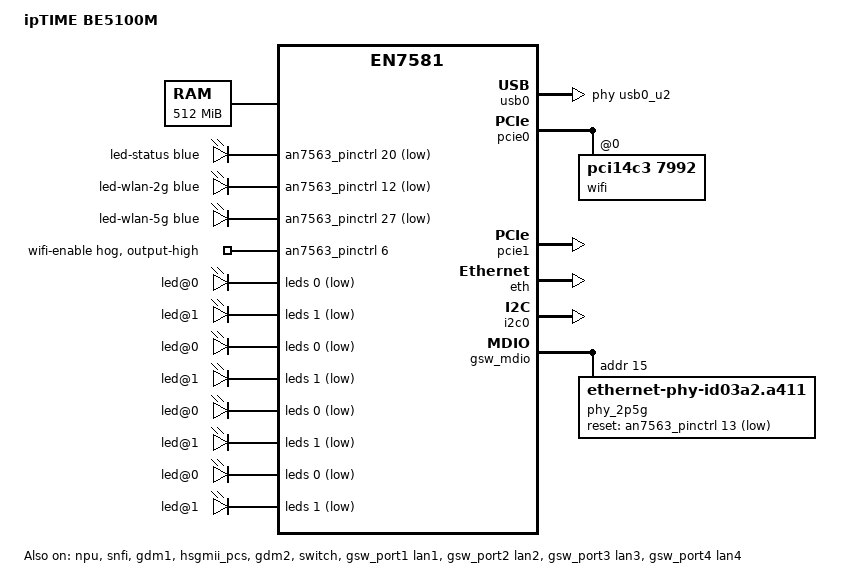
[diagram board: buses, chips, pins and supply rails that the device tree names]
// SPDX-License-Identifier: (GPL-2.0-only OR BSD-2-Clause)
/dts-v1/;

/* Bootloader installs ATF here (BL31 resident region, ~256 KiB). */
/memreserve/ 0x80000000 0x88000;

#include <dt-bindings/gpio/gpio.h>
#include <dt-bindings/phy/phy.h>
#include <dt-bindings/phy/airoha,an7581-usb-phy.h>
#include "an7563.dtsi"

/ {
	model = "ipTIME BE5100M";
	compatible = "iptime,be5100m", "airoha,an7563", "airoha,en7581";

	aliases {
		serial0 = &uart1;
	};

	chosen {
		bootargs = "console=ttyS0,115200 earlycon";
		stdout-path = "serial0:115200n8";
	};

	memory@80000000 {
		device_type = "memory";
		reg = <0x80000000 0x20000000>;
	};

	reserved-memory {
		#address-cells = <1>;
		#size-cells = <1>;
		ranges;

		npu_firmware: npu-firmware@84000000 {
			reg = <0x84000000 0x300000>;
			no-map;
		};

		npu_pkt: npu-pkt@84400000 {
			reg = <0x84400000 0x1600000>;
			no-map;
		};
	};
};

&an7563_pinctrl {
	gpio-ranges = <&an7563_pinctrl 0 0 28>;

	wifi-enable-hog {
		/* Stock U-Boot drives GPIO 6 high (MTK_GPIO_HIGH=6,27). */
		gpio-hog;
		gpios = <6 GPIO_ACTIVE_HIGH>;
		output-high;
		line-name = "wifi-enable";
	};
};

&npu {
	memory-region = <&npu_firmware>, <&npu_pkt>;
	memory-region-names = "firmware", "pkt";
	status = "okay";
};

&pcie0 {
	ranges = <0x82000000 0 0x20000000 0x20000000 0 0x4000000>;
	status = "okay";

	pcie@0,0 {
		device_type = "pci";
		reg = <0x0000 0 0 0 0>;
		#address-cells = <3>;
		#size-cells = <2>;
		ranges;

		wifi@0,0 {
			compatible = "pci14c3,7992";
			airoha,npu = <&npu>;
			airoha,eth = <&eth>;
			reg = <0x0000 0 0 0 0>;
			nvmem-cells = <&wifi_eeprom>;
			nvmem-cell-names = "eeprom";
		};
	};
};

&pcie1 {
	ranges = <0x82000000 0 0x24000000 0x24000000 0 0x4000000>;
	status = "okay";
};

&snfi {
	status = "okay";
};

&eth {
	status = "okay";
};

&gdm1 {
	nvmem-cells = <&macaddr_lan 3>;
	nvmem-cell-names = "mac-address";
	status = "okay";
};

&i2c0 {
	status = "okay";
};

/*
 * Stock ipTIME layout. The DT order (not the address order) is deliberate:
 * stock U-Boot passes root=/dev/mtdblock5 (main) or /dev/mtdblock8 (second
 * image), so tclinux_slave must be mtd6 and its split rootfs mtd8.
 * OpenWrt lives in tclinux_slave: FIP toc/certs + HDR2 (0x2100 bytes), then
 * the FIT (fdt@1, kernel@1, filesystem@1), then squashfs on an erase block.
 * Everything else stays read-only.
 */
&spi_nand {
	airoha,bmt;

	partitions {
		compatible = "fixed-partitions";
		#address-cells = <1>;
		#size-cells = <1>;

		partition@0 {
			label = "bootloader";
			reg = <0x0 0x80000>;
			read-only;
		};

		partition@80000 {
			label = "u-boot-env";
			reg = <0x80000 0x80000>;
		};

		partition@100000 {
			label = "Factory";
			reg = <0x100000 0x400000>;
			read-only;

			nvmem-layout {
				compatible = "fixed-layout";
				#address-cells = <1>;
				#size-cells = <1>;

				wifi_eeprom: eeprom@0 {
					reg = <0x0 0x1e00>;
				};

				macaddr_lan: macaddr@4 {
					compatible = "mac-base";
					reg = <0x4 0x6>;
					#nvmem-cell-cells = <1>;
				};
			};
		};

		partition@500000 {
			label = "tclinux";
			reg = <0x500000 0x2800000>;
			read-only;
		};

		partition@5500000 {
			label = "stock_data";
			reg = <0x5500000 0x800000>;
			read-only;
		};

		partition@6c80000 {
			label = "art";
			reg = <0x6c80000 0x380000>;
			read-only;
		};

		partition@2d00000 {
			compatible = "denx,fit";
			label = "tclinux_slave";
			reg = <0x2d00000 0x2800000>;
			openwrt,fit-offset = <0x2100>;
		};
	};
};

&hsgmii_pcs {
	status = "okay";
};

&gsw_mdio {
	phy_2p5g: ethernet-phy@f {
		compatible = "ethernet-phy-id03a2.a411";
		reg = <15>;
		airoha,led-active-low;
		reset-gpios = <&an7563_pinctrl 13 GPIO_ACTIVE_LOW>;
		reset-assert-us = <1000000>;
		reset-deassert-us = <100000>;
	};
};

&gdm2 {
	nvmem-cells = <&macaddr_lan 1>;
	nvmem-cell-names = "mac-address";
	phy-handle = <&phy_2p5g>;
	status = "okay";
};

&switch {
	status = "okay";
};

&gsw_port1 {
	label = "lan1";
	status = "okay";
};

&gsw_port2 {
	label = "lan2";
	status = "okay";
};

&gsw_port3 {
	label = "lan3";
	status = "okay";
};

&gsw_port4 {
	label = "lan4";
	status = "okay";
};

/* LAN PHY LEDs are active-low on this board. */
&gsw_phy1 {
	leds {
		#address-cells = <1>;
		#size-cells = <0>;

		led@0 {
			reg = <0>;
			function = LED_FUNCTION_LAN;
			function-enumerator = <0>;
			active-low;
		};

		led@1 {
			reg = <1>;
			function = LED_FUNCTION_LAN;
			function-enumerator = <1>;
			active-low;
		};
	};
};

&gsw_phy2 {
	leds {
		#address-cells = <1>;
		#size-cells = <0>;

		led@0 {
			reg = <0>;
			function = LED_FUNCTION_LAN;
			function-enumerator = <0>;
			active-low;
		};

		led@1 {
			reg = <1>;
			function = LED_FUNCTION_LAN;
			function-enumerator = <1>;
			active-low;
		};
	};
};

&gsw_phy3 {
	leds {
		#address-cells = <1>;
		#size-cells = <0>;

		led@0 {
			reg = <0>;
			function = LED_FUNCTION_LAN;
			function-enumerator = <0>;
			active-low;
		};

		led@1 {
			reg = <1>;
			function = LED_FUNCTION_LAN;
			function-enumerator = <1>;
			active-low;
		};
	};
};

&gsw_phy4 {
	leds {
		#address-cells = <1>;
		#size-cells = <0>;

		led@0 {
			reg = <0>;
			function = LED_FUNCTION_LAN;
			function-enumerator = <0>;
			active-low;
		};

		led@1 {
			reg = <1>;
			function = LED_FUNCTION_LAN;
			function-enumerator = <1>;
			active-low;
		};
	};
};

/ {
	leds {
		compatible = "gpio-leds";

		led-status {
			function = LED_FUNCTION_STATUS;
			color = <LED_COLOR_ID_BLUE>;
			gpios = <&an7563_pinctrl 20 GPIO_ACTIVE_LOW>;
			default-state = "on";
		};

		led-wlan-2g {
			function = LED_FUNCTION_WLAN_2GHZ;
			color = <LED_COLOR_ID_BLUE>;
			gpios = <&an7563_pinctrl 12 GPIO_ACTIVE_LOW>;
		};

		led-wlan-5g {
			function = LED_FUNCTION_WLAN_5GHZ;
			color = <LED_COLOR_ID_BLUE>;
			gpios = <&an7563_pinctrl 27 GPIO_ACTIVE_LOW>;
		};
	};
};

/ {
	soc {
		usb0: usb@1fab0000 {
			compatible = "mediatek,mtk-xhci";
			reg = <0x1fab0000 0x3e00>,
			      <0x1fab3e00 0x100>;
			reg-names = "mac", "ippc";
			interrupts = <GIC_SPI 33 IRQ_TYPE_LEVEL_HIGH>;

			phys = <&usb0_u2 PHY_TYPE_USB2>,
			       <&usb1_u2 PHY_TYPE_USB2>,
			       <&usb0_u3 PHY_TYPE_USB3>;
		};

		usb_phy: phy@1fac0000 {
			compatible = "airoha,an7583-usb-phy";
			reg = <0x1fac0000 0x2000>,
			      <0x1fa6f000 0x1000>,
			      <0x1fa6e000 0x1000>,
			      <0x1fa6a000 0x1000>;
			reg-names = "phy", "ana", "pma", "dig";

			#address-cells = <1>;
			#size-cells = <0>;

			usb0_u2: usb2-phy@0 {
				reg = <0x0>;
				airoha,usb2-monitor-clk-sel = <AIROHA_USB2_MONCLK_SEL1>;
				#phy-cells = <1>;
			};

			usb1_u2: usb2-phy@1000 {
				reg = <0x1000>;
				airoha,usb2-monitor-clk-sel = <AIROHA_USB2_MONCLK_SEL2>;
				#phy-cells = <1>;
			};

			usb0_u3: usb3-phy {
				airoha,scu = <&scu>;
				#phy-cells = <1>;
			};
		};
	};
};
